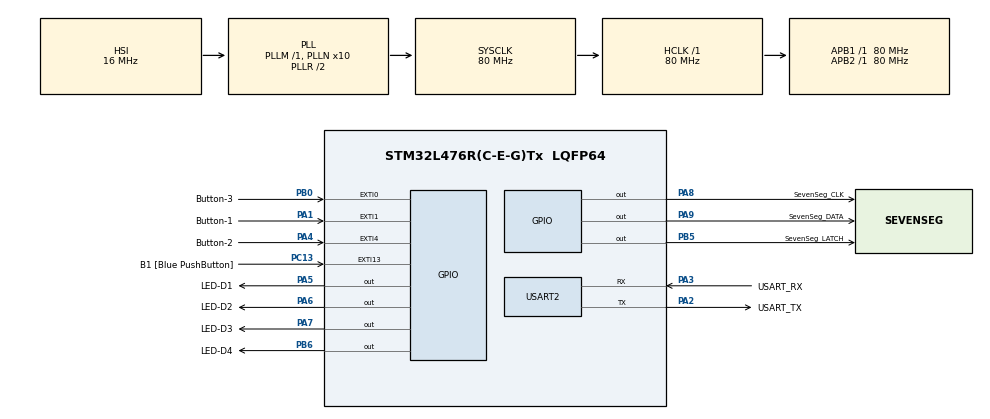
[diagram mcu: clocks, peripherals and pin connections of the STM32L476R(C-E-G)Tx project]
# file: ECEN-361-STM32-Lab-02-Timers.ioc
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Mcu.Family=STM32L4
Mcu.Name=STM32L476R(C-E-G)Tx
Mcu.Package=LQFP64
Mcu.UserConstants=reaction_timer,1
NVIC.EXTI0_IRQn=true\:0\:0\:false\:false\:true\:true\:true\:true
NVIC.EXTI1_IRQn=true\:0\:0\:false\:false\:true\:true\:true\:true
NVIC.EXTI4_IRQn=true\:0\:0\:false\:false\:true\:true\:true\:true
NVIC.PriorityGroup=NVIC_PRIORITYGROUP_4
NVIC.TIM1_BRK_TIM15_IRQn=true\:0\:0\:false\:false\:true\:true\:true\:true
NVIC.TIM1_TRG_COM_TIM17_IRQn=true\:0\:0\:false\:false\:true\:true\:true\:true
NVIC.TIM1_UP_TIM16_IRQn=true\:0\:0\:false\:false\:true\:true\:true\:true
NVIC.TIM6_DAC_IRQn=true\:0\:0\:false\:false\:true\:true\:true\:true
NVIC.TIM7_IRQn=true\:0\:0\:false\:false\:true\:true\:true\:true
PA0.Signal=ADCx_IN5
PA1.GPIO_Label=Button-1
PA1.GPIO_ModeDefaultEXTI=GPIO_MODE_IT_FALLING
PA1.Signal=GPXTI1
PA13\ (JTMS-SWDIO).GPIO_Label=TMS
PA13\ (JTMS-SWDIO).Mode=Serial_Wire
PA13\ (JTMS-SWDIO).Signal=SYS_JTMS-SWDIO
PA14\ (JTCK-SWCLK).GPIO_Label=TCK
PA14\ (JTCK-SWCLK).Mode=Serial_Wire
PA14\ (JTCK-SWCLK).Signal=SYS_JTCK-SWCLK
PA2.GPIO_Label=USART_TX
PA2.GPIO_Mode=GPIO_MODE_AF_PP
PA2.GPIO_PuPd=GPIO_NOPULL
PA2.GPIO_Speed=GPIO_SPEED_FREQ_VERY_HIGH
PA2.Mode=Asynchronous
PA2.Signal=USART2_TX
PA3.GPIO_Label=USART_RX
PA3.GPIO_Mode=GPIO_MODE_AF_PP
PA3.GPIO_PuPd=GPIO_NOPULL
PA3.GPIO_Speed=GPIO_SPEED_FREQ_VERY_HIGH
PA3.Mode=Asynchronous
PA3.Signal=USART2_RX
PA4.GPIO_Label=Button-2
PA4.GPIO_ModeDefaultEXTI=GPIO_MODE_IT_FALLING
PA4.Signal=GPXTI4
PA5.GPIO_Label=LED-D1
PA5.Signal=GPIO_Output
PA6.GPIO_Label=LED-D2
PA6.Signal=GPIO_Output
PA7.GPIO_Label=LED-D3
PA7.Signal=GPIO_Output
PA8.GPIO_Label=SevenSeg_CLK
PA8.Signal=GPIO_Output
PA9.GPIO_Label=SevenSeg_DATA
PA9.Signal=GPIO_Output
PB0.GPIO_Label=Button-3
PB0.GPIO_ModeDefaultEXTI=GPIO_MODE_IT_FALLING
PB0.Signal=GPXTI0
PB3\ (JTDO-TRACESWO).Signal=SYS_JTDO-SWO
PB5.GPIO_Label=SevenSeg_LATCH
PB5.Signal=GPIO_Output
PB6.GPIO_Label=LED-D4
PB6.Signal=GPIO_Output
PC1.GPIO_Label=LM35_IN
PC1.Signal=ADCx_IN2
PC13.GPIO_Label=B1 [Blue PushButton]
PC13.GPIO_ModeDefaultEXTI=GPIO_MODE_IT_FALLING
PC13.GPIO_PuPd=GPIO_NOPULL
PC13.Signal=GPXTI13
PC14-OSC32_IN\ (PC14).Mode=LSE-External-Oscillator
PC14-OSC32_IN\ (PC14).Signal=RCC_OSC32_IN
PC15-OSC32_OUT\ (PC15).Mode=LSE-External-Oscillator
PC15-OSC32_OUT\ (PC15).Signal=RCC_OSC32_OUT
PH0-OSC_IN\ (PH0).Signal=RCC_OSC_IN
PH1-OSC_OUT\ (PH1).Signal=RCC_OSC_OUT
ProjectManager.HeapSize=0x200
ProjectManager.StackSize=0x400
ProjectManager.TargetToolchain=STM32CubeIDE
RCC.ADCFreq_Value=64000000
RCC.AHBFreq_Value=80000000
RCC.APB1Freq_Value=80000000
RCC.APB1TimFreq_Value=80000000
RCC.APB2Freq_Value=80000000
RCC.APB2TimFreq_Value=80000000
RCC.CortexFreq_Value=80000000
RCC.HCLKFreq_Value=80000000
RCC.HSE_VALUE=8000000
RCC.HSI_VALUE=16000000
RCC.MSI_VALUE=4000000
RCC.PLLN=10
RCC.PLLSourceVirtual=RCC_PLLSOURCE_HSI
RCC.PREFETCH_ENABLE=1
RCC.SYSCLKFreq_VALUE=80000000
RCC.SYSCLKSource=RCC_SYSCLKSOURCE_PLLCLK
RCC.USBFreq_Value=64000000
RCC.VCOOutputFreq_Value=160000000
SH.ADCx_IN2.0=ADC1_IN2
SH.ADCx_IN5.0=ADC2_IN5
TIM15.Period=1000-1
TIM15.Prescaler=8000 - 1
TIM16.Period=10000
TIM16.Prescaler=8000 -1
TIM17.Period=100
TIM17.Prescaler=800-1
TIM3.AutoReloadPreload=TIM_AUTORELOAD_PRELOAD_DISABLE
TIM3.Period=65535
TIM3.Prescaler=8000-1
TIM6.Period=5000 - 1
TIM6.Prescaler=8000 - 1
TIM7.Period=2500 -1
TIM7.Prescaler=8000 - 1
USART2.VirtualMode-Asynchronous=VM_ASYNC
VP_TIM15_VS_ClockSourceINT.Mode=Internal
VP_TIM16_VS_ClockSourceINT.Mode=Enable_Timer
VP_TIM17_VS_ClockSourceINT.Mode=Enable_Timer
VP_TIM3_VS_ClockSourceINT.Mode=Internal
VP_TIM6_VS_ClockSourceINT.Mode=Enable_Timer
VP_TIM7_VS_ClockSourceINT.Mode=Enable_Timer
board=NUCLEO-L476RG

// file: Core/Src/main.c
/* USER CODE BEGIN Header */
/**
  ******************************************************************************
  * @file           : main.c
  * @brief          : Main program body
  ******************************************************************************
  * @attention
  *
  * Copyright (c) 2023 STMicroelectronics.
  * All rights reserved.
  *
  * This software is licensed under terms that can be found in the LICENSE file
  * in the root directory of this software component.
  * If no LICENSE file comes with this software, it is provided AS-IS.
  *
  ******************************************************************************
  */
/* USER CODE END Header */
#include "main.h"

/* USER CODE BEGIN Includes */
#include "MultiFunctionShield.h"
#include <stdio.h>
#include <stdlib.h>
#include <stdbool.h>

/* USER CODE END Includes */

TIM_HandleTypeDef htim3;
TIM_HandleTypeDef htim6;
TIM_HandleTypeDef htim7;
TIM_HandleTypeDef htim15;
TIM_HandleTypeDef htim16;
TIM_HandleTypeDef htim17;

UART_HandleTypeDef huart2;

/* USER CODE BEGIN PV */
bool got_start_button = false;
bool got_stop_button = false;
bool got_fastest_button = false;
bool displaying_last_time = false;

/* USER CODE END PV */

void SystemClock_Config(void);
static void MX_GPIO_Init(void);
static void MX_USART2_UART_Init(void);
static void MX_TIM17_Init(void);
static void MX_TIM16_Init(void);
static void MX_TIM3_Init(void);
static void MX_TIM6_Init(void);
static void MX_TIM7_Init(void);
static void MX_TIM15_Init(void);
/* USER CODE BEGIN PFP */
/* Private function prototypes -----------------------------------------------*/
#define PUTCHAR_PROTOTYPE int __io_putchar(int ch)
extern int last_reaction_time_in_millisec;

void HAL_GPIO_EXTI_Callback(uint16_t GPIO_Pin);
void show_a_random_number(void);
void got_start(void);
void got_stop(void);
void got_fastest(void);
int best_reaction_time_in_millisec = 99999;  //Start with something easy to beat
bool display_on = false;

/* USER CODE END PFP */

int main(void)
{

  /* MCU Configuration--------------------------------------------------------*/

  /* Reset of all peripherals, Initializes the Flash interface and the Systick. */
  HAL_Init();

  /* Configure the system clock */
  SystemClock_Config();

  /* Initialize all configured peripherals */
  MX_GPIO_Init();
  MX_USART2_UART_Init();
  MX_TIM17_Init();
  MX_TIM16_Init();
  MX_TIM3_Init();
  MX_TIM6_Init();
  MX_TIM7_Init();
  MX_TIM15_Init();
  /* USER CODE BEGIN 2 */

  // Start timer
  HAL_TIM_Base_Start_IT(&htim17);  // LED SevenSeg cycle thru them   DONT CHANGE
  HAL_TIM_Base_Start_IT(&htim16);  // LED-D1 toggle according to Timer16   DONT CHANGE
  HAL_TIM_Base_Start_IT(&htim6);
  HAL_TIM_Base_Start_IT(&htim7);

  /************  STUDENT TO FILL IN HERE START *********************/

    // Add your Timer Start for LED-D2 HERE
    // Add your Timer Start for LED-D3 HERE

  /************  STUDENT TO FILL IN HERE END   *********************/

  MultiFunctionShield_Clear();
  /* USER CODE END 2 */

  /* Infinite loop */
  /* USER CODE BEGIN WHILE */
  Clear_LEDs();
  printf("\033\143");  // clear the terminal before printing
  printf("Hello Lab-2 -- Timers and Interrupts \n\r\n\r");
  srand((unsigned) uwTick );

  while (1)
  {
    /* USER CODE END WHILE */

    /* USER CODE BEGIN 3 */
	// show_a_random_number();
	  while (!got_start_button);
	  got_start();
	  got_start_button = false;
	  while (!got_stop_button);
	  got_stop();
	  got_stop_button = false;
	  MX_TIM3_Init();   // reset the reaction timer

	// Display_Waiting();

	}
  /* USER CODE END 3 */
}

void SystemClock_Config(void)
{
  RCC_OscInitTypeDef RCC_OscInitStruct = {0};
  RCC_ClkInitTypeDef RCC_ClkInitStruct = {0};

  /** Configure the main internal regulator output voltage
  */
  if (HAL_PWREx_ControlVoltageScaling(PWR_REGULATOR_VOLTAGE_SCALE1) != HAL_OK)
  {
    Error_Handler();
  }

  /** Initializes the RCC Oscillators according to the specified parameters
  * in the RCC_OscInitTypeDef structure.
  */
  RCC_OscInitStruct.OscillatorType = RCC_OSCILLATORTYPE_HSI;
  RCC_OscInitStruct.HSIState = RCC_HSI_ON;
  RCC_OscInitStruct.HSICalibrationValue = RCC_HSICALIBRATION_DEFAULT;
  RCC_OscInitStruct.PLL.PLLState = RCC_PLL_ON;
  RCC_OscInitStruct.PLL.PLLSource = RCC_PLLSOURCE_HSI;
  RCC_OscInitStruct.PLL.PLLM = 1;
  RCC_OscInitStruct.PLL.PLLN = 10;
  RCC_OscInitStruct.PLL.PLLP = RCC_PLLP_DIV7;
  RCC_OscInitStruct.PLL.PLLQ = RCC_PLLQ_DIV2;
  RCC_OscInitStruct.PLL.PLLR = RCC_PLLR_DIV2;
  if (HAL_RCC_OscConfig(&RCC_OscInitStruct) != HAL_OK)
  {
    Error_Handler();
  }

  /** Initializes the CPU, AHB and APB buses clocks
  */
  RCC_ClkInitStruct.ClockType = RCC_CLOCKTYPE_HCLK|RCC_CLOCKTYPE_SYSCLK
                              |RCC_CLOCKTYPE_PCLK1|RCC_CLOCKTYPE_PCLK2;
  RCC_ClkInitStruct.SYSCLKSource = RCC_SYSCLKSOURCE_PLLCLK;
  RCC_ClkInitStruct.AHBCLKDivider = RCC_SYSCLK_DIV1;
  RCC_ClkInitStruct.APB1CLKDivider = RCC_HCLK_DIV1;
  RCC_ClkInitStruct.APB2CLKDivider = RCC_HCLK_DIV1;

  if (HAL_RCC_ClockConfig(&RCC_ClkInitStruct, FLASH_LATENCY_4) != HAL_OK)
  {
    Error_Handler();
  }
}

static void MX_TIM3_Init(void)
{

  TIM_ClockConfigTypeDef sClockSourceConfig = {0};
  TIM_MasterConfigTypeDef sMasterConfig = {0};

  htim3.Instance = TIM3;
  htim3.Init.Prescaler = 8000-1;
  htim3.Init.CounterMode = TIM_COUNTERMODE_UP;
  htim3.Init.Period = 65535;
  htim3.Init.ClockDivision = TIM_CLOCKDIVISION_DIV1;
  htim3.Init.AutoReloadPreload = TIM_AUTORELOAD_PRELOAD_DISABLE;
  if (HAL_TIM_Base_Init(&htim3) != HAL_OK)
  {
    Error_Handler();
  }
  sClockSourceConfig.ClockSource = TIM_CLOCKSOURCE_INTERNAL;
  if (HAL_TIM_ConfigClockSource(&htim3, &sClockSourceConfig) != HAL_OK)
  {
    Error_Handler();
  }
  sMasterConfig.MasterOutputTrigger = TIM_TRGO_RESET;
  sMasterConfig.MasterSlaveMode = TIM_MASTERSLAVEMODE_DISABLE;
  if (HAL_TIMEx_MasterConfigSynchronization(&htim3, &sMasterConfig) != HAL_OK)
  {
    Error_Handler();
  }

}

static void MX_TIM6_Init(void)
{

  TIM_MasterConfigTypeDef sMasterConfig = {0};

  htim6.Instance = TIM6;
  htim6.Init.Prescaler = 8000 - 1;
  htim6.Init.CounterMode = TIM_COUNTERMODE_UP;
  htim6.Init.Period = 5000 - 1;
  htim6.Init.AutoReloadPreload = TIM_AUTORELOAD_PRELOAD_DISABLE;
  if (HAL_TIM_Base_Init(&htim6) != HAL_OK)
  {
    Error_Handler();
  }
  sMasterConfig.MasterOutputTrigger = TIM_TRGO_RESET;
  sMasterConfig.MasterSlaveMode = TIM_MASTERSLAVEMODE_DISABLE;
  if (HAL_TIMEx_MasterConfigSynchronization(&htim6, &sMasterConfig) != HAL_OK)
  {
    Error_Handler();
  }

}

static void MX_TIM7_Init(void)
{

  TIM_MasterConfigTypeDef sMasterConfig = {0};

  htim7.Instance = TIM7;
  htim7.Init.Prescaler = 8000 - 1;
  htim7.Init.CounterMode = TIM_COUNTERMODE_UP;
  htim7.Init.Period = 2500 -1;
  htim7.Init.AutoReloadPreload = TIM_AUTORELOAD_PRELOAD_DISABLE;
  if (HAL_TIM_Base_Init(&htim7) != HAL_OK)
  {
    Error_Handler();
  }
  sMasterConfig.MasterOutputTrigger = TIM_TRGO_RESET;
  sMasterConfig.MasterSlaveMode = TIM_MASTERSLAVEMODE_DISABLE;
  if (HAL_TIMEx_MasterConfigSynchronization(&htim7, &sMasterConfig) != HAL_OK)
  {
    Error_Handler();
  }

}

static void MX_TIM15_Init(void)
{

  TIM_ClockConfigTypeDef sClockSourceConfig = {0};
  TIM_MasterConfigTypeDef sMasterConfig = {0};

  htim15.Instance = TIM15;
  htim15.Init.Prescaler = 8000 - 1;
  htim15.Init.CounterMode = TIM_COUNTERMODE_UP;
  htim15.Init.Period = 1000-1;
  htim15.Init.ClockDivision = TIM_CLOCKDIVISION_DIV1;
  htim15.Init.RepetitionCounter = 0;
  htim15.Init.AutoReloadPreload = TIM_AUTORELOAD_PRELOAD_DISABLE;
  if (HAL_TIM_Base_Init(&htim15) != HAL_OK)
  {
    Error_Handler();
  }
  sClockSourceConfig.ClockSource = TIM_CLOCKSOURCE_INTERNAL;
  if (HAL_TIM_ConfigClockSource(&htim15, &sClockSourceConfig) != HAL_OK)
  {
    Error_Handler();
  }
  sMasterConfig.MasterOutputTrigger = TIM_TRGO_RESET;
  sMasterConfig.MasterSlaveMode = TIM_MASTERSLAVEMODE_DISABLE;
  if (HAL_TIMEx_MasterConfigSynchronization(&htim15, &sMasterConfig) != HAL_OK)
  {
    Error_Handler();
  }

}

static void MX_TIM16_Init(void)
{

  htim16.Instance = TIM16;
  htim16.Init.Prescaler = 8000 -1;
  htim16.Init.CounterMode = TIM_COUNTERMODE_UP;
  htim16.Init.Period = 10000;
  htim16.Init.ClockDivision = TIM_CLOCKDIVISION_DIV1;
  htim16.Init.RepetitionCounter = 0;
  htim16.Init.AutoReloadPreload = TIM_AUTORELOAD_PRELOAD_DISABLE;
  if (HAL_TIM_Base_Init(&htim16) != HAL_OK)
  {
    Error_Handler();
  }

}

static void MX_TIM17_Init(void)
{

  htim17.Instance = TIM17;
  htim17.Init.Prescaler = 800-1;
  htim17.Init.CounterMode = TIM_COUNTERMODE_UP;
  htim17.Init.Period = 100;
  htim17.Init.ClockDivision = TIM_CLOCKDIVISION_DIV1;
  htim17.Init.RepetitionCounter = 0;
  htim17.Init.AutoReloadPreload = TIM_AUTORELOAD_PRELOAD_DISABLE;
  if (HAL_TIM_Base_Init(&htim17) != HAL_OK)
  {
    Error_Handler();
  }

}

static void MX_USART2_UART_Init(void)
{

  huart2.Instance = USART2;
  huart2.Init.BaudRate = 115200;
  huart2.Init.WordLength = UART_WORDLENGTH_8B;
  huart2.Init.StopBits = UART_STOPBITS_1;
  huart2.Init.Parity = UART_PARITY_NONE;
  huart2.Init.Mode = UART_MODE_TX_RX;
  huart2.Init.HwFlowCtl = UART_HWCONTROL_NONE;
  huart2.Init.OverSampling = UART_OVERSAMPLING_16;
  huart2.Init.OneBitSampling = UART_ONE_BIT_SAMPLE_DISABLE;
  huart2.AdvancedInit.AdvFeatureInit = UART_ADVFEATURE_NO_INIT;
  if (HAL_UART_Init(&huart2) != HAL_OK)
  {
    Error_Handler();
  }

}

static void MX_GPIO_Init(void)
{
  GPIO_InitTypeDef GPIO_InitStruct = {0};

  /* GPIO Ports Clock Enable */
  __HAL_RCC_GPIOC_CLK_ENABLE();
  __HAL_RCC_GPIOH_CLK_ENABLE();
  __HAL_RCC_GPIOA_CLK_ENABLE();
  __HAL_RCC_GPIOB_CLK_ENABLE();

  /*Configure GPIO pin Output Level */
  HAL_GPIO_WritePin(GPIOA, LED_D1_Pin|LED_D2_Pin|LED_D3_Pin|SevenSeg_CLK_Pin
                          |SevenSeg_DATA_Pin, GPIO_PIN_RESET);

  /*Configure GPIO pin Output Level */
  HAL_GPIO_WritePin(GPIOB, SevenSeg_LATCH_Pin|LED_D4_Pin, GPIO_PIN_RESET);

  /*Configure GPIO pin : B1_Pin */
  GPIO_InitStruct.Pin = B1_Pin;
  GPIO_InitStruct.Mode = GPIO_MODE_IT_FALLING;
  GPIO_InitStruct.Pull = GPIO_NOPULL;
  HAL_GPIO_Init(B1_GPIO_Port, &GPIO_InitStruct);

  /*Configure GPIO pin : LM35_IN_Pin */
  GPIO_InitStruct.Pin = LM35_IN_Pin;
  GPIO_InitStruct.Mode = GPIO_MODE_ANALOG_ADC_CONTROL;
  GPIO_InitStruct.Pull = GPIO_NOPULL;
  HAL_GPIO_Init(LM35_IN_GPIO_Port, &GPIO_InitStruct);

  /*Configure GPIO pin : PA0 */
  GPIO_InitStruct.Pin = GPIO_PIN_0;
  GPIO_InitStruct.Mode = GPIO_MODE_ANALOG_ADC_CONTROL;
  GPIO_InitStruct.Pull = GPIO_NOPULL;
  HAL_GPIO_Init(GPIOA, &GPIO_InitStruct);

  /*Configure GPIO pins : Button_1_Pin Button_2_Pin */
  GPIO_InitStruct.Pin = Button_1_Pin|Button_2_Pin;
  GPIO_InitStruct.Mode = GPIO_MODE_IT_FALLING;
  GPIO_InitStruct.Pull = GPIO_NOPULL;
  HAL_GPIO_Init(GPIOA, &GPIO_InitStruct);

  /*Configure GPIO pins : LED_D1_Pin LED_D2_Pin LED_D3_Pin SevenSeg_CLK_Pin
                           SevenSeg_DATA_Pin */
  GPIO_InitStruct.Pin = LED_D1_Pin|LED_D2_Pin|LED_D3_Pin|SevenSeg_CLK_Pin
                          |SevenSeg_DATA_Pin;
  GPIO_InitStruct.Mode = GPIO_MODE_OUTPUT_PP;
  GPIO_InitStruct.Pull = GPIO_NOPULL;
  GPIO_InitStruct.Speed = GPIO_SPEED_FREQ_LOW;
  HAL_GPIO_Init(GPIOA, &GPIO_InitStruct);

  /*Configure GPIO pin : Button_3_Pin */
  GPIO_InitStruct.Pin = Button_3_Pin;
  GPIO_InitStruct.Mode = GPIO_MODE_IT_FALLING;
  GPIO_InitStruct.Pull = GPIO_NOPULL;
  HAL_GPIO_Init(Button_3_GPIO_Port, &GPIO_InitStruct);

  /*Configure GPIO pins : SevenSeg_LATCH_Pin LED_D4_Pin */
  GPIO_InitStruct.Pin = SevenSeg_LATCH_Pin|LED_D4_Pin;
  GPIO_InitStruct.Mode = GPIO_MODE_OUTPUT_PP;
  GPIO_InitStruct.Pull = GPIO_NOPULL;
  GPIO_InitStruct.Speed = GPIO_SPEED_FREQ_LOW;
  HAL_GPIO_Init(GPIOB, &GPIO_InitStruct);

  /* EXTI interrupt init*/
  HAL_NVIC_SetPriority(EXTI0_IRQn, 0, 0);
  HAL_NVIC_EnableIRQ(EXTI0_IRQn);

  HAL_NVIC_SetPriority(EXTI1_IRQn, 0, 0);
  HAL_NVIC_EnableIRQ(EXTI1_IRQn);

  HAL_NVIC_SetPriority(EXTI4_IRQn, 0, 0);
  HAL_NVIC_EnableIRQ(EXTI4_IRQn);

}

/* USER CODE BEGIN 4 */

/**
  * @brief  Retargets the C library printf function to the USART.
  * @param  None
  * @retval None
  */
PUTCHAR_PROTOTYPE
{
  /* Place your implementation of fputc here */
  /* e.g. write a character to the USART1 and Loop until the end of transmission */
  HAL_UART_Transmit(&huart2, (uint8_t *)&ch, 1, 0xFFFF);

  return ch;
}

void HAL_GPIO_EXTI_Callback(uint16_t GPIO_Pin)
	{
	// All three buttons generate GPIO interrupts
	// Don't spend much time in the ISR because there are other interrupts happening
	switch(GPIO_Pin)
	{
	case Button_1_Pin:
		got_start_button = true;
		displaying_last_time = false;
		break;
	case Button_2_Pin:
		got_stop_button = true;
		displaying_last_time = true;
		break;
	case Button_3_Pin:
		// Here's the code for the Show Fastest button --
		got_fastest_button = true;
		displaying_last_time = false;
		MultiFunctionShield_Display(best_reaction_time_in_millisec);
		break;
	default:
      __NOP();
	}
}

// Callback: timer has rolled over
void HAL_TIM_PeriodElapsedCallback(TIM_HandleTypeDef *htim)
{
// Check which version of the timer triggered this callback and toggle the right LED
  if (htim == &htim16 )
  {
	HAL_GPIO_TogglePin(LED_D1_GPIO_Port, LED_D1_Pin);
	if (displaying_last_time) {
		if (display_on) {
			MultiFunctionShield_Clear();
			display_on = false;
		}
		else {
			display_on = true;
			MultiFunctionShield_Display(last_reaction_time_in_millisec);
		}
	}
  }
/** This timer has to be here to cycle thru the 7-Seg LED displays **/
  if (htim == &htim17 )
  {
	  MultiFunctionShield__ISRFunc();
  }

  /**************** STUDENT TO FILL IN START HERE ********************/
  /*   See example above where the htim
   *   Need to put in the code to toggle D2 and D3 when their respective timers have expired
   *
   */

  if (htim == &htim6) {
	  HAL_GPIO_TogglePin(LED_D2_GPIO_Port, LED_D2_Pin);

  }
  if (htim == &htim7) {
	  HAL_GPIO_TogglePin(LED_D3_GPIO_Port, LED_D3_Pin);
  }
  /**************** STUDENT TO FILL IN END HERE ********************/

}

/* USER CODE END 4 */

void Error_Handler(void)
{
  __disable_irq();
  while (1)
  {
  }
}
